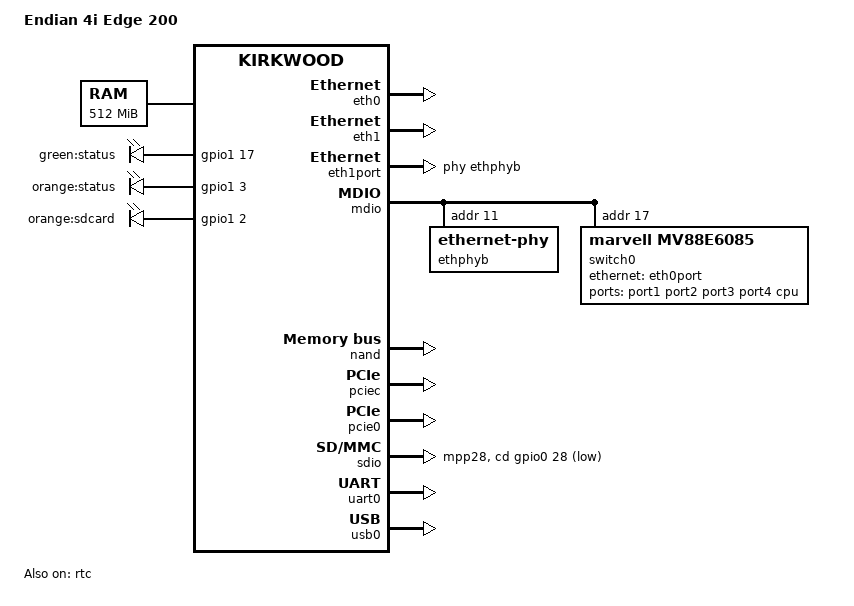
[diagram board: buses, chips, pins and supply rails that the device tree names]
// SPDX-License-Identifier: GPL-2.0-or-later
/*
 * Endian 4i Edge 200 Board Description
 * Note: Endian UTM Mini is hardware clone of Endian Edge 200
 * Copyright 2021 Pawel Dembicki <paweldembicki@gmail.com>
 */

/dts-v1/;

#include "kirkwood.dtsi"
#include "kirkwood-6281.dtsi"

/ {
	model = "Endian 4i Edge 200";
	compatible = "endian,4i-edge-200", "marvell,kirkwood-88f6281", "marvell,kirkwood";

	memory {
		device_type = "memory";
		reg = <0x00000000 0x20000000>;
	};

	aliases {
		led-boot = &led_status_green;
		led-failsafe = &led_status_orange;
		led-running = &led_status_green;
		led-upgrade = &led_status_orange;
	};

	chosen {
		bootargs = "console=ttyS0,115200n8";
		stdout-path = &uart0;
	};

	leds {
		compatible = "gpio-leds";
		pinctrl-0 = <&pmx_led49 &pmx_led35 &pmx_led34>;
		pinctrl-names = "default";

		led_status_green: status_green {
			label = "green:status";
			gpios = <&gpio1 17 GPIO_ACTIVE_HIGH>;
		};

		led_status_orange: status_orange {
			label = "orange:status";
			gpios = <&gpio1 3 GPIO_ACTIVE_HIGH>;
		};

		sdcard {
			label = "orange:sdcard";
			gpios = <&gpio1 2 GPIO_ACTIVE_HIGH>;
			linux,default-trigger = "mmc0";
		};
	};
};

&eth0 {
	status = "okay";
};

&eth0port {
	speed = <1000>;
	duplex = <1>;
};

&eth1 {
	status = "okay";
};

&eth1port {
	phy-handle = <&ethphyb>;
};

&mdio {
	status = "okay";

	ethphyb: ethernet-phy@b {
		reg = <0x0b>;

		marvell,reg-init =
			/* link-activity, bi-color mode 4 */
			<3 0x10 0xfff0 0xf>; /* Reg 3,16 <- 0xzzzf */
	};

	switch0: switch@11 {
		compatible = "marvell,mv88e6085";
		reg = <0x11>;

		ports {
			#address-cells = <1>;
			#size-cells = <0>;

			port@0 {
				reg = <0>;
				label = "port1";
			};

			port@1 {
				reg = <1>;
				label = "port2";
			};

			port@2 {
				reg = <2>;
				label = "port3";
			};

			port@3 {
				reg = <3>;
				label = "port4";
			};

			port@5 {
				reg = <5>;
				label = "cpu";
				phy-mode = "rgmii-id";
				ethernet = <&eth0port>;

				fixed-link {
					speed = <1000>;
					full-duplex;
				};
			};
		};
	};
};

&nand {
	status = "okay";
	pinctrl-0 = <&pmx_nand>;
	pinctrl-names = "default";

	partition@0 {
		label = "u-boot";
		reg = <0x00000000 0x000a0000>;
		read-only;
	};

	partition@a0000 {
		label = "u-boot-env";
		reg = <0x000a0000 0x00060000>;
		read-only;
	};

	partition@100000 {
		label = "kernel";
		reg = <0x00100000 0x00400000>;
	};

	partition@500000 {
		label = "ubi";
		reg = <0x00500000 0x1fb00000>;
	};
};

&pciec {
	status = "okay";
};

&pcie0 {
	status = "okay";
};

&pinctrl {
	pinctrl-0 = <&pmx_sysrst>;
	pinctrl-names = "default";

	pmx_sysrst: pmx-sysrst {
		marvell,pins = "mpp6";
		marvell,function = "sysrst";
	};

	pmx_sdio_cd: pmx-sdio-cd {
		marvell,pins = "mpp28";
		marvell,function = "gpio";
	};

	pmx_led34: pmx_led34 {
		marvell,pins = "mpp34";
		marvell,function = "gpio";
	};

	pmx_led35: pmx_led35 {
		marvell,pins = "mpp35";
		marvell,function = "gpio";
	};

	pmx_led49: pmx_led49 {
		marvell,pins = "mpp49";
		marvell,function = "gpio";
	};
};

&rtc {
	status = "okay";
};

&sata_phy0 {
	status = "disabled";
};

&sata_phy1 {
	status = "disabled";
};

&sdio {
	pinctrl-0 = <&pmx_sdio_cd>;
	pinctrl-names = "default";
	status = "okay";
	cd-gpios = <&gpio0 28 9>;
};

&uart0 {
	status = "okay";
};

&usb0 {
	status = "okay";
};
